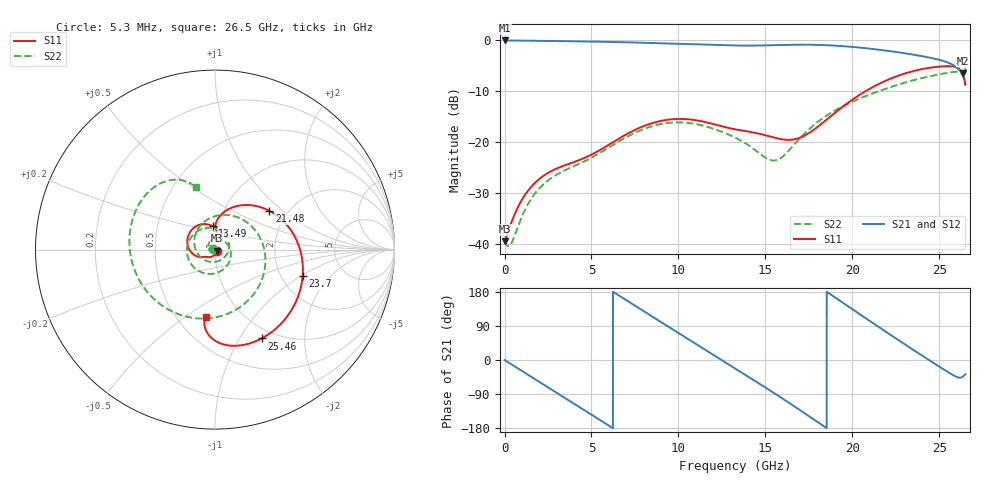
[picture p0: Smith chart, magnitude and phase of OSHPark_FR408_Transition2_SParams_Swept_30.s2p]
! TOUCHSTONE file generated by CST MICROWAVE STUDIO
! Date and time: Tue Jan  7 09:43:46 2020
! Project name: OSHPark_FR408_Transition2.cst
! Parameters = {GND_Plane_XMax=11.75; Cap_Disk_XOffset=0; Cap_Disk2_YCenter=-1.03; Cap_Disk_YCenter=1.03; Cap_Disk_XCenter=7.39; Cap_Disk_Radius=0.5; BottomSupport_Left_YMax=4.76; BottomSupport_Left_YMin=3.74; BottomSupport_Right_YMax=-3.74; BottomSupport_Right_YMin=-4.76; BottomSupport_XMax=11.64; 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
! Header version: 2015
! Port assignment regex: !\s*Touchstone port\s*([0-9]+)\s*=\s*CST MWS port\s*([0-9]+)\s*\(\"(.*)\"\)(\s*mode\s*([0-9]+))?.*
! Touchstone port assignment:
! Touchstone port 1 = CST MWS port 1 ("")
! Touchstone port 2 = CST MWS port 2 ("")
# GHz S MA R 50
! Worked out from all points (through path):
!   5000 points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, 5.3 MHz to 26.5 GHz, reference 50 ohm
!   highest |S21| = 0.00 dB at 10.6 MHz (marker M1); lowest = -6.4 dB at 26.36 GHz (marker M2)
!   group delay of S21, straight-line fit = 81.9 ps
!   lowest |S11| = -39.4 dB at 5.3 MHz (marker M3), VSWR 1.02, Z = 51 - j0.526 ohm
!   |S11| at or under -10 dB: start of sweep to 20.73 GHz
!   |S22| runs from -40.3 to -6.1 dB; largest |S21 - S12| = 0
!   S11 on the Smith chart (normalised r, x): 5.3 MHz: 1.02, -0.01; 13.49 GHz: 0.94, +0.25; 21.48 GHz: 1.61, +0.81; 23.7 GHz: 2.61, -1.04; 25.46 GHz: 0.87, -1.25; 26.5 GHz: 0.69, -0.59
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0.0053  0.01078 -28.6  0.9999 -0.2  0.9999 -0.2  0.01081 150.6
0.0106  0.01085 -29.7  0.9999 -0.3  0.9999 -0.3  0.01073 151.5
1.1236  0.02965 -94.0  0.9956 -32.4  0.9956 -32.4  0.02094 -162.4
2.4062  0.04918 -122.5  0.9896 -69.4  0.9896 -69.4  0.04124 159.1
4.4255  0.06852 -143.9  0.9787 -127.6  0.9787 -127.6  0.0632 67.7
5.512  0.08474 -150.2  0.9716 -159.0  0.9716 -159.0  0.07947 13.2
6.5349  0.108 -159.7  0.9634 171.4  0.9634 171.4  0.1015 -34.7
8.8404  0.1606 163.8  0.9407 104.7  0.9407 104.7  0.1497 -126.9
10.0276  0.1701 141.9  0.9283 70.4  0.9283 70.4  0.1574 -169.2
11.3261  0.1615 119.9  0.9141 32.8  0.9141 32.8  0.1473 146.6
13.2553  0.1347 97.9  0.8924 -22.5  0.8924 -22.5  0.1118 78.1
13.4938  0.1324 95.9  0.8909 -29.3  0.8909 -29.3  0.1066 68.0
15.6615  0.1099 82.2  0.9023 -92.0  0.9023 -92.0  0.06728 -79.8
17.6702  0.1291 89.1  0.9077 -153.3  0.9077 -153.3  0.1424 137.3
19.3079  0.2147 76.6  0.883 155.7  0.883 155.7  0.2199 54.8
20.4315  0.2938 57.5  0.851 120.7  0.851 120.7  0.2698 4.6
21.4809  0.3715 35.6  0.8134 88.2  0.8134 88.2  0.3162 -38.2
22.0851  0.4145 21.9  0.7891 69.7  0.7891 69.7  0.3434 -61.5
23.7016  0.5101 -16.8  0.7164 20.8  0.7164 20.8  0.4155 -121.3
25.4559  0.559 -62.3  0.6112 -30.8  0.6112 -30.8  0.4809 172.1
26.3569  0.4619 -95.6  0.4787 -43.7  0.4787 -43.7  0.4486 119.8
26.5  0.3729 -97.9  0.5214 -37.9  0.5214 -37.9  0.3587 106.8
